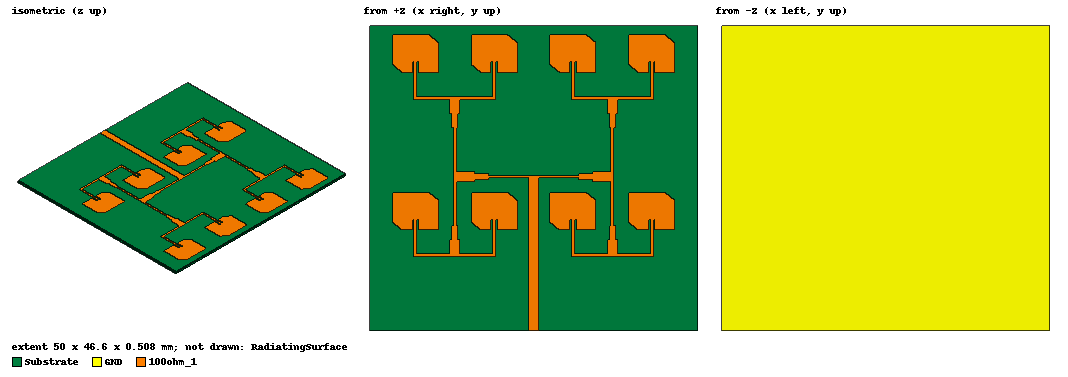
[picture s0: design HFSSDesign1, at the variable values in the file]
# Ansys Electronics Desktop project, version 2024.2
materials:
  vacuum: permittivity=1
  Rogers RT/duroid 5880 (tm): permittivity=2.2 dielectric_loss_tangent=0.0009

design HFSSDesign1 (HFSS, HFSS Terminal Network, model units mm)
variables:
  Lg = 11.67mm
  Wg = 24.61mm
  Hs = 0.508mm
  Ls = 11.67mm
  Ws = 24.61mm
  Wf = 1.565mm
  Lf = 2.2mm
  Lp = 3.51mm
  Wp = 4.591mm
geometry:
  50ohm = rectangle(corner=(11.67mm/2 - 2.2mm, -1.565mm/2, 0.508mm), x_size=2.2mm, y_size=1.565mm)
  100ohm_1 = rectangle(corner=(11.67mm/2 - Lf - 0.455mm, -11.545mm/2, 0.508mm), x_size=0.455mm, y_size=11.545mm)
  Feedline_1 = rectangle(corner=(3.635mm, -0.455mm-11.545mm/2, 0.508mm), x_size=-4.135mm, y_size=0.455mm)
  Feedline_2 = rectangle(corner=(3.635mm, 11.545mm/2, 0.508mm), x_size=-4.135mm, y_size=0.455mm)
  [50ohm, 100ohm_1, Feedline_1, Feedline_2].rotate(axis=Z, angle=270deg)
  70ohm = rectangle(corner=((0-0.9/2) mm, -5.835mm, 0.508mm), x_size=0.9mm, y_size=-2.14mm)
  100ohm_3 = rectangle(corner=((0-0.455/2) mm, -7.975mm, 0.508mm), x_size=0.455mm, y_size=-14.9mm)
  70ohm1 = rectangle(corner=((0-0.9/2) mm, (-5.835-10.9-2.14) mm, 0.508mm), x_size=0.9mm, y_size=-2.14mm)
  50ohm_2 = rectangle(corner=(11.67mm/2 + 2.2mm + 2.14mm + 10.9mm, -1.565mm/2, 0.508mm), x_size=2.2mm, y_size=1.565mm)
  50ohm_2.rotate(axis=Z, angle=270deg)
  50ohm_2.move(0mm, 0.06mm, 0mm)
  100ohm_2 = rectangle(corner=(11.67mm/2 - Lf - 0.455mm, -11.545mm/2, 0.508mm), x_size=0.455mm, y_size=11.545mm)
  100ohm_2.rotate(axis=Z, angle=270deg)
  100ohm_2.move(0mm, -20.065mm, -0.008mm)
  100ohm_2.move(0mm, 0.03mm, 0.008mm)
  Feedline_3 = rectangle(corner=(3.635mm, -0.455mm-11.545mm/2, 0.508mm), x_size=-4.135mm, y_size=0.455mm)
  Feedline_3.rotate(axis=Z, angle=270deg)
  Feedline_4 = rectangle(corner=(3.635mm, 11.545mm/2, 0.508mm), x_size=-4.135mm, y_size=0.455mm)
  Feedline_4.rotate(axis=Z, angle=270deg)
  [Feedline_3, Feedline_4].move(-0.1725mm, -19.965mm, 0.092mm)
  [Feedline_3, Feedline_4].move(0.1725mm, -0.07mm, -0.092mm)
  [50ohm, 100ohm_1, Feedline_1, Feedline_2, 70ohm, 100ohm_3, 70ohm1, 50ohm_2, 100ohm_2, Feedline_3, Feedline_4].move(-0.2275mm, 13.425mm, -0.508mm)
  50ohm_H1 = rectangle(corner=(0mm, (0+1.565/2) mm, 0mm), x_size=2.8mm, y_size=-1.565mm)
  70ohm_H1 = rectangle(corner=((0+2.8) mm, (0+0.9/2) mm, 0mm), x_size=2.14mm, y_size=-0.9mm)
  100ohm_H = rectangle(corner=(4.94mm, (0+0.455/2) mm, 0mm), x_size=13.65mm, y_size=-0.455mm)
  70ohm_H2 = rectangle(corner=((0+2.8) mm, (0+0.9/2) mm, 0mm), x_size=2.14mm, y_size=-0.9mm)
  70ohm_H2.move(15.86mm, 0.0275mm, 0mm)
  70ohm_H2.move(-0.07mm, -0.0275mm, 0mm)
  50ohm_H2 = rectangle(corner=(0mm, (0+1.565/2) mm, 0mm), x_size=2.8mm, y_size=-1.565mm)
  50ohm_H2.move(20.8mm, -0.05mm, 0mm)
  50ohm_H2.move(-0.07mm, 0.05mm, 0mm)
  [50ohm, 100ohm_1, Feedline_1, Feedline_2, 70ohm, 100ohm_3, 70ohm1, 50ohm_2, 100ohm_2, Feedline_3, Feedline_4, 50ohm_H1, 70ohm_H1, 100ohm_H, 70ohm_H2, 50ohm_H2].move(-11.765mm, 0.2275mm, 0mm)
  50ohm_Main = rectangle(corner=((0-1.565/2) mm, 0mm, 0mm), x_size=1.565mm, y_size=-23.3mm)
  Substrate [Rogers RT/duroid 5880 (tm)] = box(corner=(-25mm, -23.3mm, 0mm), size=(50mm, (23.3*2) mm, -0.508mm))
  P1 = rectangle(corner=(-0.7825mm, -23.3mm, 0mm), z_size=-0.508mm, x_size=1.565mm)
  RadiatingSurface [vacuum] = region(absolute_offset=3.8461538mm on all sides)
  Patch_1 = rectangle(corner=(-4mm, 10mm, 0mm), x_size=6.97mm, y_size=5.647mm)
  Patch_1.move(0mm, 0mm, 0mm)
  Patch_1.move(-17.4775mm, 4.1525mm, 0mm)
  [100ohm_2, 50ohm_2, 70ohm1, Feedline_3, Feedline_4].move(0mm, -4mm, 0mm)
  50ohm_3 = 50ohm.duplicate_along_line(step=(24mm, 0mm, 0mm), total=2)
  50ohm.delete()
  100ohm_1_1 = 100ohm_1.duplicate_along_line(step=(24mm, 0mm, 0mm), total=2)
  100ohm_2_1 = 100ohm_2.duplicate_along_line(step=(24mm, 0mm, 0mm), total=2)
  100ohm_3_1 = 100ohm_3.duplicate_along_line(step=(24mm, 0mm, 0mm), total=2)
  70ohm_1 = 70ohm.duplicate_along_line(step=(24mm, 0mm, 0mm), total=2)
  70ohm1_1 = 70ohm1.duplicate_along_line(step=(24mm, 0mm, 0mm), total=2)
  50ohm_4 = 50ohm_2.duplicate_along_line(step=(24mm, 0mm, 0mm), total=2)
  Feedline_1_1 = Feedline_1.duplicate_along_line(step=(24mm, 0mm, 0mm), total=2)
  Feedline_2_1 = Feedline_2.duplicate_along_line(step=(24mm, 0mm, 0mm), total=2)
  Feedline_3_1 = Feedline_3.duplicate_along_line(step=(24mm, 0mm, 0mm), total=2)
  Feedline_4_1 = Feedline_4.duplicate_along_line(step=(24mm, 0mm, 0mm), total=2)
  50ohm_1 = rectangle(corner=(-11.9925mm, 10.0175mm, 0mm), x_size=1.565mm, y_size=2.2mm)
  50ohm_1.move(-0.7825mm, -2.2mm, 0mm)
  GND = rectangle(corner=(-25mm, -23.3mm, -0.508mm), x_size=50mm, y_size=46.6mm)
  Polyline1 = polyline(z=0mm, xy in mm: (-21.4775, 15.2815) (-20.0835, 14.1525) (-21.4775, 14.1525) (-21.4775, 15.2815), closed, covered)
  Polyline2 = polyline(z=0mm, xy in mm: (-15.9015, 19.7995) (-14.5075, 18.6705) (-14.5075, 19.7995) (-15.9015, 19.7995), closed, covered)
  Patch_1.subtract(Polyline1, Polyline2)
  Patch_1_2 = Patch_1.duplicate_along_line(step=(12mm, -3.5527137e-15mm, 0mm), total=2)
  Patch_1_2_1 = Patch_1_2.duplicate_along_line(step=(12mm, 3.5527137e-15mm, 0mm), total=2)
  Patch_1_2_1_1 = Patch_1_2_1.duplicate_along_line(step=(12mm, -3.5527137e-15mm, 0mm), total=2)
  Patch_1_2_1_2 = Patch_1_2_1.duplicate_along_line(step=(-24mm, -24.035mm, 0mm), total=2)
  Patch_1_2_1_3 = Patch_1_2_1.duplicate_along_line(step=(-12mm, -24.035mm, 0mm), total=2)
  Patch_1_2_1_3_1 = Patch_1_2_1_3.duplicate_along_line(step=(12mm, 3.5527137e-15mm, 0mm), total=2)
  Patch_1_2_1_3_2 = Patch_1_2_1_3.duplicate_along_line(step=(24mm, 0mm, 0mm), total=2)
  [Patch_1_2_1_1, 100ohm_1_1, 100ohm_2_1, 100ohm_3_1, 50ohm_3, 50ohm_4, 70ohm_1, 70ohm1_1, Feedline_1_1, Feedline_2_1, Feedline_3_1, Feedline_4_1, Patch_1_2_1, Patch_1_2_1_3_1, Patch_1_2_1_3_2].move(-0.015mm, 2mm, 0mm)
  [100ohm_3, 100ohm_1, 100ohm_2, 50ohm_1, 50ohm_2, 70ohm, 70ohm1, Feedline_1..Feedline_4, Patch_1, Patch_1_2, Patch_1_2_1_2, Patch_1_2_1_3].move(0mm, 2mm, 0mm)
  100ohm_1.unite(Feedline_1, Feedline_2, 70ohm, 100ohm_3, 70ohm1, 50ohm_2, 100ohm_2, Feedline_3, Feedline_4, 50ohm_H1, 70ohm_H1, 100ohm_H, 70ohm_H2, 50ohm_H2, 50ohm_Main, Patch_1, 50ohm_3, 100ohm_1_1, 100ohm_2_1, 100ohm_3_1, 70ohm_1, 70ohm1_1, 50ohm_4, Feedline_1_1, Feedline_2_1, Feedline_3_1, Feedline_4_1, 50ohm_1, Patch_1_2, Patch_1_2_1, Patch_1_2_1_1, Patch_1_2_1_2, Patch_1_2_1_3, Patch_1_2_1_3_1, Patch_1_2_1_3_2)
  Cut_1 = rectangle(corner=(-18.22mm, 16.1525mm, 0mm), x_size=-0.278mm, y_size=1.557mm)
  Cut_2 = rectangle(corner=(-18.22mm, 16.1525mm, 0mm), x_size=-0.278mm, y_size=1.557mm)
  Cut_2.move(0.733mm, 0mm, 0mm)
  Cut_3 = rectangle(corner=(-18.22mm, 16.1525mm, 0mm), x_size=-0.278mm, y_size=1.557mm)
  Cut_4 = rectangle(corner=(-18.22mm, 16.1525mm, 0mm), x_size=-0.278mm, y_size=1.557mm)
  Cut_4.move(0.733mm, 0mm, 0mm)
  [Cut_3, Cut_4].move(12mm, 0mm, 0mm)
  Cut_5 = rectangle(corner=(-18.22mm, 16.1525mm, 0mm), x_size=-0.278mm, y_size=1.557mm)
  Cut_6 = rectangle(corner=(-18.22mm, 16.1525mm, 0mm), x_size=-0.278mm, y_size=1.557mm)
  Cut_6.move(0.733mm, 0mm, 0mm)
  Cut_7 = rectangle(corner=(-18.22mm, 16.1525mm, 0mm), x_size=-0.278mm, y_size=1.557mm)
  Cut_7.move(12mm, 0mm, 0mm)
  Cut_8 = rectangle(corner=(-18.22mm, 16.1525mm, 0mm), x_size=-0.278mm, y_size=1.557mm)
  Cut_8.move(0.733mm, 0mm, 0mm)
  Cut_8.move(12mm, 0mm, 0mm)
  [Cut_7, Cut_8, Cut_5, Cut_6].move(23.985mm, 0mm, 0mm)
  Cut_9 = rectangle(corner=(-18.22mm, 16.1525mm, 0mm), x_size=-0.278mm, y_size=1.557mm)
  Cut_10 = rectangle(corner=(-18.22mm, 16.1525mm, 0mm), x_size=-0.278mm, y_size=1.557mm)
  Cut_10.move(0.733mm, 0mm, 0mm)
  Cut_11 = rectangle(corner=(-18.22mm, 16.1525mm, 0mm), x_size=-0.278mm, y_size=1.557mm)
  Cut_11.move(12mm, 0mm, 0mm)
  Cut_12 = rectangle(corner=(-18.22mm, 16.1525mm, 0mm), x_size=-0.278mm, y_size=1.557mm)
  Cut_12.move(0.733mm, 0mm, 0mm)
  Cut_12.move(12mm, 0mm, 0mm)
  Cut_13 = rectangle(corner=(-18.22mm, 16.1525mm, 0mm), x_size=-0.278mm, y_size=1.557mm)
  Cut_13.move(23.985mm, 0mm, 0mm)
  Cut_14 = rectangle(corner=(-18.22mm, 16.1525mm, 0mm), x_size=-0.278mm, y_size=1.557mm)
  Cut_14.move(0.733mm, 0mm, 0mm)
  Cut_14.move(23.985mm, 0mm, 0mm)
  Cut_15 = rectangle(corner=(-18.22mm, 16.1525mm, 0mm), x_size=-0.278mm, y_size=1.557mm)
  Cut_15.move(12mm, 0mm, 0mm)
  Cut_15.move(23.985mm, 0mm, 0mm)
  Cut_16 = rectangle(corner=(-18.22mm, 16.1525mm, 0mm), x_size=-0.278mm, y_size=1.557mm)
  Cut_16.move(0.733mm, 0mm, 0mm)
  Cut_16.move(12mm, 0mm, 0mm)
  Cut_16.move(23.985mm, 0mm, 0mm)
  [Cut_9..Cut_16].move(-3.5527137e-15mm, -24.035mm, 0mm)
  100ohm_1.subtract(Cut_1, Cut_10..Cut_16, Cut_2..Cut_9)
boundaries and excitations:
  Open1: Radiation Objects=RadiatingSurface
  PerfE1: Perfect E Objects=[100ohm_1, GND]
  1: Lumped Port Objects=P1 LumpedPortType=Modal Modes{Mode1{IntLine{(0, -23.3, -0.508) -> (0, -23.3, 0)} CharImp=Zpi RenormImp=50ohm}} Impedance=50ohm
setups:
  Setup1: HfssDriven Frequency=17GHz MaxDeltaS=0.02 MaximumPasses=12 MinimumPasses=1 MinimumConvergedPasses=1 PercentRefinement=30 BasisOrder=1 PortAccuracy=2 DrivenSolverType="Direct Solver"
    sweep Sweep: 10GHz to 25GHz, 401 points; Type=Discrete SaveFields
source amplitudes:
  1:1: 1V 0deg
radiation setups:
  3D: Infinite Sphere Theta=0deg..180deg step 2deg Phi=-180deg..180deg step 2deg
  Elevation: Infinite Sphere Theta=-180deg..180deg step 1deg Phi=0deg..90deg step 90deg
  Azimuth: Infinite Sphere Theta=90deg..90deg step 0deg Phi=-180deg..180deg step 1deg
  Infinite Sphere1: Infinite Sphere Theta=-180deg..180deg step 10deg Phi=0deg..360deg step 10deg
